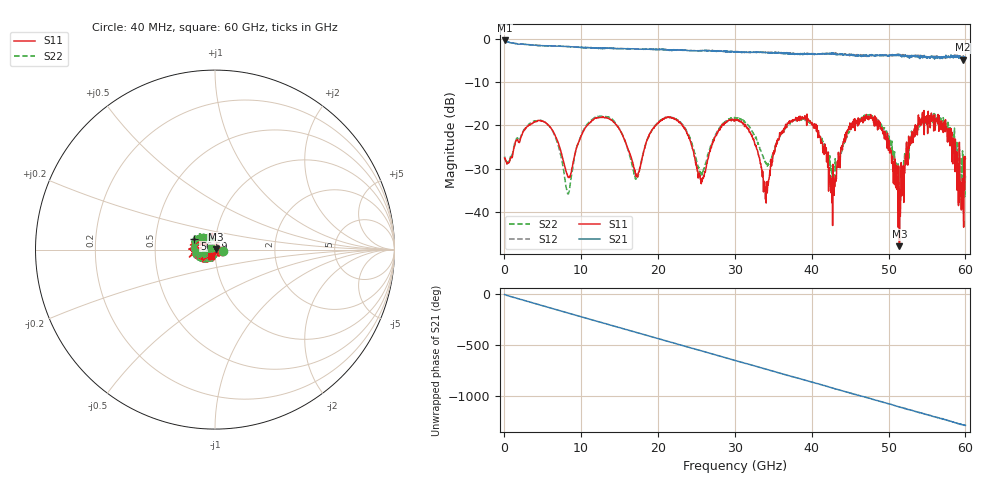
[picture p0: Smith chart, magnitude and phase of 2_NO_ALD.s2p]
! File created by 'SoftPlot +Plus+ Measurement Management Software'
! SoftPlot +Plus+ Measurement Management Software
! Start 40.000000 MHz  Stop 60.000000 GHz  Points 1601
# MHZ S RI R 50
! S-Parameter data, F S11 S21 S12 S22
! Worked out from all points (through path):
!   1601 points, 40 MHz to 60 GHz, reference 50 ohm
!   highest |S21| = -0.41 dB at 40 MHz (marker M1); lowest = -4.8 dB at 59.66 GHz (marker M2)
!   group delay of S21, straight-line fit = 59.5 ps
!   lowest |S11| = -47.8 dB at 51.42 GHz (marker M3), VSWR 1.01, Z = 50.4 + j0.0967 ohm
!   |S11| at or under -10 dB: start of sweep to end of sweep
!   |S22| runs from -36.4 to -17.3 dB; largest |S21 - S12| = 0.077
!   S11 on the Smith chart (normalised r, x): 40 MHz: 1.09, -0.02; 56.59 GHz: 0.79, +0.10; 60 GHz: 0.96, -0.07
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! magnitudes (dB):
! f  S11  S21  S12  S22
! 40 MHz  -27.5  -0.4  -0.4  -27.2
! 5.062 GHz  -19.1  -1.6  -1.6  -19.0
! 8.284 GHz  -31.8  -1.8  -1.8  -35.7
! 10.05 GHz  -22.2  -2.1  -2.0  -22.2
! 13.91 GHz  -18.7  -2.2  -2.3  -18.4
! 17.17 GHz  -31.2  -2.4  -2.4  -32.3
! 20.05 GHz  -19.5  -2.5  -2.5  -19.1
! 23.2 GHz  -20.1  -2.7  -2.6  -20.0
! 25.71 GHz  -32.9  -2.7  -2.7  -31.4
! 30.02 GHz  -18.7  -3.0  -2.9  -18.2
! 32.27 GHz  -22.7  -3.1  -3.2  -21.4
! 34.03 GHz  -34.8  -3.1  -3.2  -28.6
! 36.69 GHz  -19.9  -3.4  -3.3  -20.5
! 40.03 GHz  -19.3  -3.4  -3.5  -19.5
! 42.72 GHz  -43.1  -3.3  -3.4  -32.8
! 45.31 GHz  -20.4  -3.8  -3.7  -20.0
! 50.03 GHz  -24.6  -3.8  -3.7  -23.6
! 51.42 GHz  -47.8  -3.8  -3.9  -33.5
! 53.78 GHz  -21.1  -3.9  -4.1  -20.6
! 56.59 GHz  -17.7  -4.3  -4.3  -19.7
! 59.66 GHz  -38.0  -4.8  -4.1  -26.8
! 60 GHz  -27.6  -4.6  -4.1  -31.6
